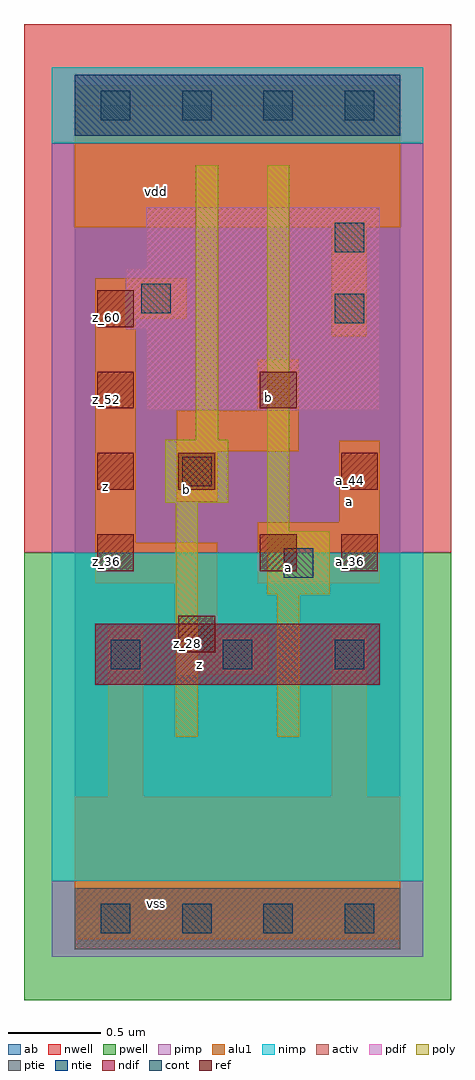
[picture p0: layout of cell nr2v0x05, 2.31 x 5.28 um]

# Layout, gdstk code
import gdstk
lib = gdstk.Library(unit=1e-6, precision=2.5e-09)
def R(c, l, rs):  # rectangles x0, y0, x1, y1
    for r in rs: c.add(gdstk.rectangle(r[:2], r[2:], *l))
def A(c, l, x, y, w, h, nx, ny, dx, dy):  # array of equal rectangles
    R(c, l, [(x+i*dx, y+j*dy, x+i*dx+w, y+j*dy+h) for i in range(nx) for j in range(ny)])
ndif = (3, 0)
pdif = (4, 0)
ntie = (5, 0)
ptie = (6, 0)
ref = (24, 0)
cont = (25, 0)
pwell = (41, 0)
nwell = (42, 0)
activ = (43, 0)
pimp = (44, 0)
nimp = (45, 0)
poly = (46, 0)
alu1 = (49, 0)
ab = (63, 0)

nr2v0x05 = lib.new_cell('nr2v0x05')
R(nr2v0x05, ndif, [(0.11,1.265,1.65,1.595)])
R(nr2v0x05, pdif, [(0.385,2.75,1.65,3.19), (0.275,3.19,1.65,3.52), (0.385,3.52,1.65,3.85)])
R(nr2v0x05, ntie, [(0,4.235,1.76,4.565)])
R(nr2v0x05, ptie, [(0,-0.165,1.76,0.165)])
A(nr2v0x05, ref, 0.12, 1.88, 0.2, 0.2, 1, 4, 0, 0.44)
R(nr2v0x05, ref, [(0.56,1.44,0.76,1.64), (1,1.88,1.2,2.08), (1.44,1.88,1.64,2.08), (0.56,2.32,0.76,2.52), (1.44,2.32,1.64,2.52), (1,2.76,1.2,2.96)])
A(nr2v0x05, cont, 0.14, -0.08, 0.16, 0.16, 4, 2, 0.44, 4.4)
A(nr2v0x05, cont, 0.195, 1.35, 0.16, 0.16, 3, 1, 0.605, 0)
R(nr2v0x05, cont, [(1.13,1.845,1.29,2.005), (0.58,2.34,0.74,2.5), (1.405,3.22,1.565,3.38), (0.36,3.275,0.52,3.435), (1.405,3.605,1.565,3.765)])
R(nr2v0x05, pwell, [(-0.275,-0.44,2.035,1.98)])
R(nr2v0x05, nwell, [(-0.275,1.98,2.035,4.84)])
R(nr2v0x05, activ, [(0,-0.165,1.76,0.165), (0.11,1.265,1.65,1.595), (0.385,2.75,1.65,3.19), (0.275,3.19,1.65,3.52), (0.385,3.52,1.65,3.85), (0,4.235,1.76,4.565)])
R(nr2v0x05, pimp, [(-0.125,-0.205,1.885,0.205), (-0.125,1.98,1.885,4.195)])
R(nr2v0x05, nimp, [(-0.125,0.205,1.885,1.98), (-0.125,4.195,1.885,4.605)])
R(nr2v0x05, poly, [(0.545,0.985,0.665,2.25), (1.095,0.985,1.215,1.755), (1.04,1.755,1.38,2.095), (1.04,2.095,1.16,4.075), (0.49,2.25,0.83,2.59), (0.655,2.59,0.775,4.075)])
R(nr2v0x05, alu1, [(0,-0.11,1.76,0.66), (0.18,0.66,0.37,1.58), (1.39,0.66,1.58,1.58), (0.55,1.32,1.045,1.54), (0.55,1.54,0.77,1.815), (0.11,1.815,0.77,2.035), (0.99,1.815,1.65,2.145), (0.11,2.035,0.33,3.245), (1.43,2.145,1.65,2.585), (0.55,2.255,0.77,2.53), (0.55,2.53,1.21,2.75), (0.99,2.75,1.21,3.025), (1.39,3.15,1.58,3.74), (0.11,3.245,0.605,3.465), (0,3.74,1.76,4.51)])
R(nr2v0x05, ab, [(0,0,1.76,4.4)])
nr2v0x05.add(gdstk.Label('vss', (0.44,0.0825), layer=49, texttype=0))
nr2v0x05.add(gdstk.Label('z', (0.6725,1.375), layer=49, texttype=0))
nr2v0x05.add(gdstk.Label('a', (1.155,1.8975), layer=49, texttype=0))
nr2v0x05.add(gdstk.Label('a', (1.485,2.255), layer=49, texttype=0))
nr2v0x05.add(gdstk.Label('b', (0.605,2.3225), layer=49, texttype=0))
nr2v0x05.add(gdstk.Label('b', (1.045,2.8175), layer=49, texttype=0))
nr2v0x05.add(gdstk.Label('z', (0.165,2.3375), layer=49, texttype=0))
nr2v0x05.add(gdstk.Label('vdd', (0.44,3.9325), layer=49, texttype=0))
nr2v0x05.add(gdstk.Label('z_60', (0.17,3.25), layer=24, texttype=0))
nr2v0x05.add(gdstk.Label('z_52', (0.17,2.81), layer=24, texttype=0))
nr2v0x05.add(gdstk.Label('z_44', (0.17,2.37), layer=24, texttype=0))
nr2v0x05.add(gdstk.Label('z_36', (0.17,1.93), layer=24, texttype=0))
nr2v0x05.add(gdstk.Label('a_44', (1.49,2.37), layer=24, texttype=0))
nr2v0x05.add(gdstk.Label('a_36', (1.49,1.93), layer=24, texttype=0))
nr2v0x05.add(gdstk.Label('b_52', (1.05,2.81), layer=24, texttype=0))
nr2v0x05.add(gdstk.Label('a_36', (1.05,1.93), layer=24, texttype=0))
nr2v0x05.add(gdstk.Label('b_44', (0.61,2.37), layer=24, texttype=0))
nr2v0x05.add(gdstk.Label('z_28', (0.61,1.49), layer=24, texttype=0))

lib.write_gds('nr2v0x05.gds')
